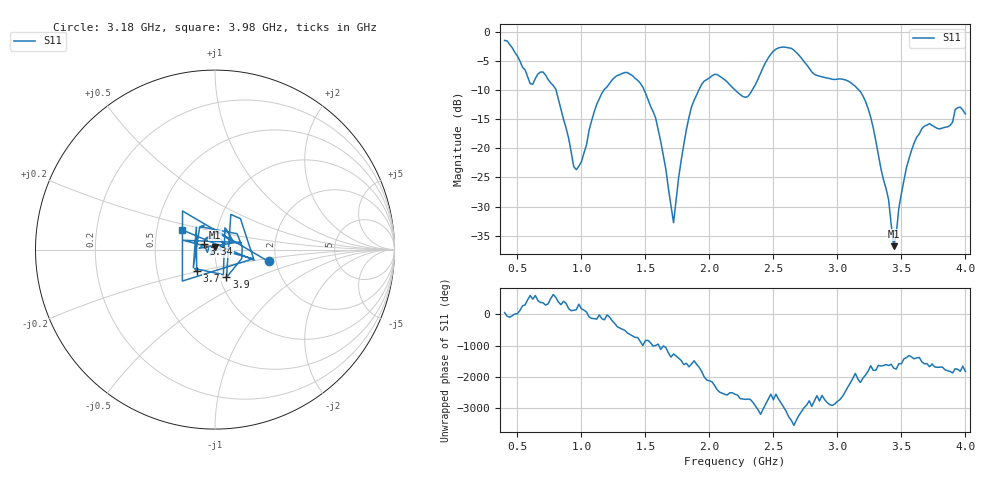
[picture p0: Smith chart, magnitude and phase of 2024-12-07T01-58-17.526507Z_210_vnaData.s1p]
!Created with skrf (http://scikit-rf.org).
# Hz S RI R 50.0
!freq ReS11 ImS11
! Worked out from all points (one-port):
!   181 points, 400 MHz to 4 GHz, reference 50 ohm
!   lowest |S11| = -36.8 dB at 3.44 GHz (marker M1), VSWR 1.03, Z = 50.1 + j1.44 ohm
!   |S11| at or under -10 dB: 801.7 MHz to 1.176 GHz (374.2 MHz wide, 37.8 % of centre); 1.49 GHz to 1.918 GHz (427.4 MHz wide, 25.1 % of centre); 3.167 GHz to end of sweep (the widest 3 of 4)
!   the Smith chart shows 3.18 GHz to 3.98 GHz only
!   S11 on the Smith chart (normalised r, x): 3.18 GHz: 1.83, -0.27; 3.34 GHz: 0.89, +0.05; 3.7 GHz: 0.79, -0.20; 3.9 GHz: 1.08, -0.34; 3.98 GHz: 0.68, +0.16
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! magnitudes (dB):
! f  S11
! 400 MHz  -1.5
! 600 MHz  -8.9
! 720 MHz  -7.4
! 860 MHz  -15.0
! 960 MHz  -23.7
! 1.12 GHz  -12.4
! 1.3 GHz  -7.4
! 1.46 GHz  -8.8
! 1.58 GHz  -14.8
! 1.72 GHz  -32.8
! 1.76 GHz  -25.0
! 1.86 GHz  -12.9
! 1.94 GHz  -9.0
! 2.2 GHz  -10.0
! 2.3 GHz  -11.1
! 2.5 GHz  -3.3
! 2.66 GHz  -3.2
! 3.1 GHz  -8.7
! 3.18 GHz  -10.3
! 3.26 GHz  -14.7
! 3.34 GHz  -23.5
! 3.4 GHz  -28.8
! 3.44 GHz  -36.8
! 3.56 GHz  -21.7
! 3.7 GHz  -16.0
! 3.9 GHz  -15.5
! 3.98 GHz  -13.4
! 4 GHz  -14.1
